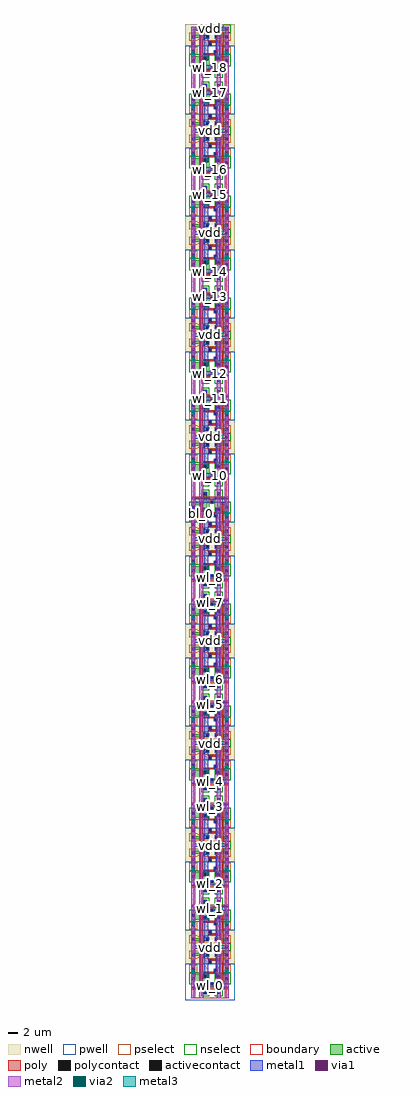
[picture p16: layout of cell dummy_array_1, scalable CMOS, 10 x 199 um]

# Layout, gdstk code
import gdstk
lib = gdstk.Library(unit=1e-6, precision=1e-09)
def R(c, l, rs):  # rectangles x0, y0, x1, y1
    for r in rs: c.add(gdstk.rectangle(r[:2], r[2:], *l))
def A(c, l, x, y, w, h, nx, ny, dx, dy):  # array of equal rectangles
    R(c, l, [(x+i*dx, y+j*dy, x+i*dx+w, y+j*dy+h) for i in range(nx) for j in range(ny)])
pwell = (41, 0)
nwell = (42, 0)
active = (43, 0)
pselect = (44, 0)
nselect = (45, 0)
poly = (46, 0)
polycontact = (47, 0)
activecontact = (48, 0)
metal1 = (49, 0)
via1 = (50, 0)
metal2 = (51, 0)
via2 = (61, 0)
metal3 = (62, 0)
boundary = (63, 0)

dummy_cell_6t = lib.new_cell('dummy_cell_6t')
R(dummy_cell_6t, pwell, [(-1.6,-0.4,8.4,7)])
R(dummy_cell_6t, nwell, [(-1.6,7,8.4,11.4)])
A(dummy_cell_6t, active, 2.4, 8.4, 0.8, 0.2, 3, 1, 2, 0)
R(dummy_cell_6t, active, [(2,0.8,2.8,3.2), (4.8,0.8,5.6,3.2), (-0.4,3.2,2.8,4.8), (4.8,3.2,7.2,4.8), (-0.4,5.6,0.4,6.4), (6.4,5.6,7.2,6.4), (-0.4,8.4,0.4,8.6), (-0.4,8.6,3.2,9.2), (4.4,8.6,7.2,9.2), (6.4,10,7.2,10.8)])
R(dummy_cell_6t, pselect, [(-0.8,5.2,0.8,6.8), (6,5.2,7.6,6.8), (-0.8,8,0.8,8.2), (2,8,7.6,8.2), (-0.8,8.2,7.6,9.6)])
R(dummy_cell_6t, nselect, [(1.6,0.4,3.2,2.8), (4.4,0.4,6,2.8), (-0.8,2.8,3.2,5.2), (4.4,2.8,7.6,5.2), (6,9.6,7.6,11.2)])
R(dummy_cell_6t, poly, [(-0.4,1.8,7.2,2.2), (3.4,2.2,4.2,3.2), (1.4,2.8,1.8,5), (5.8,2.8,6.2,7.6), (1.4,5,4.8,5.2), (1.4,5.2,5,5.4), (1.4,5.4,1.8,8.2), (4.2,5.4,5,6), (3,7,3.8,7.6), (3,7.6,6.2,8), (5.4,8,6.2,9.6), (1.4,8.2,2.2,9.6)])
R(dummy_cell_6t, polycontact, [(3.6,2.6,4,3), (4.4,5.4,4.8,5.8), (3.2,7.2,3.6,7.6)])
A(dummy_cell_6t, activecontact, 2.6, 8.6, 0.4, 0.4, 3, 1, 2, 0)
R(dummy_cell_6t, activecontact, [(2.2,1,2.6,1.4), (5,1,5.4,1.4), (-0.2,3.8,0.2,4.2), (6.6,3.8,7,4.2), (2.2,4.2,2.6,4.6), (5,4.2,5.4,4.6), (-0.2,5.8,0.2,6.2), (6.6,5.8,7,6.2), (-0.2,8.6,0.2,9), (6.6,10.2,7,10.6)])
R(dummy_cell_6t, metal1, [(2,0.8,2.8,1.6), (4.8,0.8,5.6,1.6), (-0.4,2.2,7.2,3), (-0.4,2.2,7.2,3), (3.4,3,4.2,3.2), (-0.4,3.6,0.4,7.8), (6.4,3.6,7.2,7.8), (2,4,3,4.8), (4.6,4,5.6,4.8), (2.2,4.8,3,7), (4.6,4.8,5.4,5.2), (4.2,5.2,5.4,6), (4.6,6,5.4,8.4), (2.2,7,3.8,7.8), (2.2,7.8,3,8.4), (-0.4,8.4,0.4,10), (2.2,8.4,3.2,9.2), (4.4,8.4,5.4,9.2), (6.4,8.4,7.2,10), (-0.4,10,7.2,10.8)])
R(dummy_cell_6t, via1, [(-0.2,7.2,0.2,7.6), (6.6,7.2,7,7.6), (3.2,10.2,3.6,10.6)])
R(dummy_cell_6t, metal2, [(-0.4,0,0.4,10.8), (-0.4,0,0.4,10.8), (1.2,0,2,10.8), (1.2,0,2,10.8), (4.8,0,5.6,10.8), (4.8,0,5.6,10.8), (6.4,0,7.2,10.8), (6.4,0,7.2,10.8), (3,10,3.8,10.8), (3,10,3.8,10.8)])
R(dummy_cell_6t, boundary, [(0,0,6.8,10.4)])
dummy_cell_6t.add(gdstk.Label('gnd', (0,1.2), layer=51, texttype=0))
dummy_cell_6t.add(gdstk.Label('gnd', (6.8,1.2), layer=51, texttype=0))
dummy_cell_6t.add(gdstk.Label('vdd', (3.4,10.4), layer=51, texttype=0))
dummy_cell_6t.add(gdstk.Label('bl', (1.6,9.8), layer=51, texttype=0))
dummy_cell_6t.add(gdstk.Label('br', (5.2,9.8), layer=51, texttype=0))
dummy_cell_6t.add(gdstk.Label('wl', (0.8,2.6), layer=49, texttype=0))
dummy_cell_6t.add(gdstk.Label('bl', (1.6,5.4), layer=51, texttype=0))
dummy_cell_6t.add(gdstk.Label('br', (5.2,5.4), layer=51, texttype=0))
dummy_cell_6t.add(gdstk.Label('wl', (3.4,2.6), layer=49, texttype=0))
dummy_cell_6t.add(gdstk.Label('vdd', (3.4,10.4), layer=51, texttype=0))
dummy_cell_6t.add(gdstk.Label('gnd', (0,5.4), layer=51, texttype=0))
dummy_cell_6t.add(gdstk.Label('gnd', (6.8,5.4), layer=51, texttype=0))

contact_15 = lib.new_cell('contact_15')
R(contact_15, metal2, [(0,0,0.8,0.8)])
R(contact_15, via2, [(0.2,0.2,0.6,0.6)])
R(contact_15, metal3, [(0,0,0.8,0.8)])

dummy_array_1 = lib.new_cell('dummy_array_1')
R(dummy_array_1, metal1, [(0,2.2,6.8,3), (0,17.8,6.8,18.6), (0,23,6.8,23.8), (0,38.6,6.8,39.4), (0,43.8,6.8,44.6), (0,59.4,6.8,60.2), (0,64.6,6.8,65.4), (0,80.2,6.8,81), (0,85.4,6.8,86.2), (0,101,6.8,101.8), (0,106.2,6.8,107), (0,121.8,6.8,122.6), (0,127,6.8,127.8), (0,142.6,6.8,143.4), (0,147.8,6.8,148.6), (0,163.4,6.8,164.2), (0,168.6,6.8,169.4), (0,184.2,6.8,185), (0,189.4,6.8,190.2)])
R(dummy_array_1, metal2, [(1.2,0,2,197.6), (4.8,0,5.6,197.6)])
A(dummy_array_1, metal3, 3, 10, 0.8, 0.8, 1, 3, 0, 20.8)
A(dummy_array_1, metal3, 3, 51.6, 0.8, 0.8, 1, 5, 0, 20.8)
A(dummy_array_1, metal3, 3, 134.8, 0.8, 0.8, 1, 4, 0, 20.8)
R(dummy_array_1, metal3, [(-0.4,5,0.4,5.8), (6.4,5,7.2,5.8), (-0.4,15,0.4,15.8), (6.4,15,7.2,15.8), (-0.4,25.8,0.4,26.6), (6.4,25.8,7.2,26.6), (-0.4,35.8,0.4,36.6), (6.4,35.8,7.2,36.6), (-0.4,46.6,0.4,47.4), (6.4,46.6,7.2,47.4), (-0.4,56.6,0.4,57.4), (6.4,56.6,7.2,57.4), (-0.4,67.4,0.4,68.2), (6.4,67.4,7.2,68.2), (-0.4,77.4,0.4,78.2), (6.4,77.4,7.2,78.2), (-0.4,88.2,0.4,89), (6.4,88.2,7.2,89), (-0.4,98.2,0.4,99), (6.4,98.2,7.2,99), (-0.4,109,0.4,109.8), (6.4,109,7.2,109.8), (-0.4,119,0.4,119.8), (6.4,119,7.2,119.8), (-0.4,129.8,0.4,130.6), (6.4,129.8,7.2,130.6), (-0.4,139.8,0.4,140.6), (6.4,139.8,7.2,140.6), (-0.4,150.6,0.4,151.4), (6.4,150.6,7.2,151.4), (-0.4,160.6,0.4,161.4), (6.4,160.6,7.2,161.4), (-0.4,171.4,0.4,172.2), (6.4,171.4,7.2,172.2), (-0.4,181.4,0.4,182.2), (6.4,181.4,7.2,182.2), (-0.4,192.2,0.4,193), (6.4,192.2,7.2,193)])
R(dummy_array_1, boundary, [(0,0,6.8,197.6)])
dummy_array_1.add(gdstk.Reference(dummy_cell_6t, (0,0)))
dummy_array_1.add(gdstk.Reference(dummy_cell_6t, (0,20.8), x_reflection=True))
dummy_array_1.add(gdstk.Reference(dummy_cell_6t, (0,20.8)))
dummy_array_1.add(gdstk.Reference(dummy_cell_6t, (0,41.6), x_reflection=True))
dummy_array_1.add(gdstk.Reference(dummy_cell_6t, (0,41.6)))
dummy_array_1.add(gdstk.Reference(dummy_cell_6t, (0,62.4), x_reflection=True))
dummy_array_1.add(gdstk.Reference(dummy_cell_6t, (0,62.4)))
dummy_array_1.add(gdstk.Reference(dummy_cell_6t, (0,83.2), x_reflection=True))
dummy_array_1.add(gdstk.Reference(dummy_cell_6t, (0,83.2)))
dummy_array_1.add(gdstk.Reference(dummy_cell_6t, (0,104), x_reflection=True))
dummy_array_1.add(gdstk.Reference(dummy_cell_6t, (0,104)))
dummy_array_1.add(gdstk.Reference(dummy_cell_6t, (0,124.8), x_reflection=True))
dummy_array_1.add(gdstk.Reference(dummy_cell_6t, (0,124.8)))
dummy_array_1.add(gdstk.Reference(dummy_cell_6t, (0,145.6), x_reflection=True))
dummy_array_1.add(gdstk.Reference(dummy_cell_6t, (0,145.6)))
dummy_array_1.add(gdstk.Reference(dummy_cell_6t, (0,166.4), x_reflection=True))
dummy_array_1.add(gdstk.Reference(dummy_cell_6t, (0,166.4)))
dummy_array_1.add(gdstk.Reference(dummy_cell_6t, (0,187.2), x_reflection=True))
dummy_array_1.add(gdstk.Reference(dummy_cell_6t, (0,187.2)))
dummy_array_1.add(gdstk.Reference(contact_15, (3,10)))
dummy_array_1.add(gdstk.Reference(contact_15, (-0.4,5)))
dummy_array_1.add(gdstk.Reference(contact_15, (6.4,5)))
dummy_array_1.add(gdstk.Reference(contact_15, (3,10)))
dummy_array_1.add(gdstk.Reference(contact_15, (-0.4,15)))
dummy_array_1.add(gdstk.Reference(contact_15, (6.4,15)))
dummy_array_1.add(gdstk.Reference(contact_15, (3,30.8)))
dummy_array_1.add(gdstk.Reference(contact_15, (-0.4,25.8)))
dummy_array_1.add(gdstk.Reference(contact_15, (6.4,25.8)))
dummy_array_1.add(gdstk.Reference(contact_15, (3,30.8)))
dummy_array_1.add(gdstk.Reference(contact_15, (-0.4,35.8)))
dummy_array_1.add(gdstk.Reference(contact_15, (6.4,35.8)))
dummy_array_1.add(gdstk.Reference(contact_15, (3,51.6)))
dummy_array_1.add(gdstk.Reference(contact_15, (-0.4,46.6)))
dummy_array_1.add(gdstk.Reference(contact_15, (6.4,46.6)))
dummy_array_1.add(gdstk.Reference(contact_15, (3,51.6)))
dummy_array_1.add(gdstk.Reference(contact_15, (-0.4,56.6)))
dummy_array_1.add(gdstk.Reference(contact_15, (6.4,56.6)))
dummy_array_1.add(gdstk.Reference(contact_15, (3,72.4)))
dummy_array_1.add(gdstk.Reference(contact_15, (-0.4,67.4)))
dummy_array_1.add(gdstk.Reference(contact_15, (6.4,67.4)))
dummy_array_1.add(gdstk.Reference(contact_15, (3,72.4)))
dummy_array_1.add(gdstk.Reference(contact_15, (-0.4,77.4)))
dummy_array_1.add(gdstk.Reference(contact_15, (6.4,77.4)))
dummy_array_1.add(gdstk.Reference(contact_15, (3,93.2)))
dummy_array_1.add(gdstk.Reference(contact_15, (-0.4,88.2)))
dummy_array_1.add(gdstk.Reference(contact_15, (6.4,88.2)))
dummy_array_1.add(gdstk.Reference(contact_15, (3,93.2)))
dummy_array_1.add(gdstk.Reference(contact_15, (-0.4,98.2)))
dummy_array_1.add(gdstk.Reference(contact_15, (6.4,98.2)))
dummy_array_1.add(gdstk.Reference(contact_15, (3,114)))
dummy_array_1.add(gdstk.Reference(contact_15, (-0.4,109)))
dummy_array_1.add(gdstk.Reference(contact_15, (6.4,109)))
dummy_array_1.add(gdstk.Reference(contact_15, (3,114)))
dummy_array_1.add(gdstk.Reference(contact_15, (-0.4,119)))
dummy_array_1.add(gdstk.Reference(contact_15, (6.4,119)))
dummy_array_1.add(gdstk.Reference(contact_15, (3,134.8)))
dummy_array_1.add(gdstk.Reference(contact_15, (-0.4,129.8)))
dummy_array_1.add(gdstk.Reference(contact_15, (6.4,129.8)))
dummy_array_1.add(gdstk.Reference(contact_15, (3,134.8)))
dummy_array_1.add(gdstk.Reference(contact_15, (-0.4,139.8)))
dummy_array_1.add(gdstk.Reference(contact_15, (6.4,139.8)))
dummy_array_1.add(gdstk.Reference(contact_15, (3,155.6)))
dummy_array_1.add(gdstk.Reference(contact_15, (-0.4,150.6)))
dummy_array_1.add(gdstk.Reference(contact_15, (6.4,150.6)))
dummy_array_1.add(gdstk.Reference(contact_15, (3,155.6)))
dummy_array_1.add(gdstk.Reference(contact_15, (-0.4,160.6)))
dummy_array_1.add(gdstk.Reference(contact_15, (6.4,160.6)))
dummy_array_1.add(gdstk.Reference(contact_15, (3,176.4)))
dummy_array_1.add(gdstk.Reference(contact_15, (-0.4,171.4)))
dummy_array_1.add(gdstk.Reference(contact_15, (6.4,171.4)))
dummy_array_1.add(gdstk.Reference(contact_15, (3,176.4)))
dummy_array_1.add(gdstk.Reference(contact_15, (-0.4,181.4)))
dummy_array_1.add(gdstk.Reference(contact_15, (6.4,181.4)))
dummy_array_1.add(gdstk.Reference(contact_15, (3,197.2)))
dummy_array_1.add(gdstk.Reference(contact_15, (-0.4,192.2)))
dummy_array_1.add(gdstk.Reference(contact_15, (6.4,192.2)))
dummy_array_1.add(gdstk.Label('bl_0', (1.6,98.8), layer=51, texttype=0))
dummy_array_1.add(gdstk.Label('br_0', (5.2,98.8), layer=51, texttype=0))
dummy_array_1.add(gdstk.Label('wl_0', (3.4,2.6), layer=49, texttype=0))
dummy_array_1.add(gdstk.Label('wl_1', (3.4,18.2), layer=49, texttype=0))
dummy_array_1.add(gdstk.Label('wl_2', (3.4,23.4), layer=49, texttype=0))
dummy_array_1.add(gdstk.Label('wl_3', (3.4,39), layer=49, texttype=0))
dummy_array_1.add(gdstk.Label('wl_4', (3.4,44.2), layer=49, texttype=0))
dummy_array_1.add(gdstk.Label('wl_5', (3.4,59.8), layer=49, texttype=0))
dummy_array_1.add(gdstk.Label('wl_6', (3.4,65), layer=49, texttype=0))
dummy_array_1.add(gdstk.Label('wl_7', (3.4,80.6), layer=49, texttype=0))
dummy_array_1.add(gdstk.Label('wl_8', (3.4,85.8), layer=49, texttype=0))
dummy_array_1.add(gdstk.Label('wl_9', (3.4,101.4), layer=49, texttype=0))
dummy_array_1.add(gdstk.Label('wl_10', (3.4,106.6), layer=49, texttype=0))
dummy_array_1.add(gdstk.Label('wl_11', (3.4,122.2), layer=49, texttype=0))
dummy_array_1.add(gdstk.Label('wl_12', (3.4,127.4), layer=49, texttype=0))
dummy_array_1.add(gdstk.Label('wl_13', (3.4,143), layer=49, texttype=0))
dummy_array_1.add(gdstk.Label('wl_14', (3.4,148.2), layer=49, texttype=0))
dummy_array_1.add(gdstk.Label('wl_15', (3.4,163.8), layer=49, texttype=0))
dummy_array_1.add(gdstk.Label('wl_16', (3.4,169), layer=49, texttype=0))
dummy_array_1.add(gdstk.Label('wl_17', (3.4,184.6), layer=49, texttype=0))
dummy_array_1.add(gdstk.Label('wl_18', (3.4,189.8), layer=49, texttype=0))
dummy_array_1.add(gdstk.Label('vdd', (3.4,176.8), layer=62, texttype=0))
dummy_array_1.add(gdstk.Label('vdd', (3.4,52), layer=62, texttype=0))
dummy_array_1.add(gdstk.Label('vdd', (3.4,31.2), layer=62, texttype=0))
dummy_array_1.add(gdstk.Label('vdd', (3.4,52), layer=62, texttype=0))
dummy_array_1.add(gdstk.Label('vdd', (3.4,197.6), layer=62, texttype=0))
dummy_array_1.add(gdstk.Label('vdd', (3.4,10.4), layer=62, texttype=0))
dummy_array_1.add(gdstk.Label('vdd', (3.4,135.2), layer=62, texttype=0))
dummy_array_1.add(gdstk.Label('vdd', (3.4,114.4), layer=62, texttype=0))
dummy_array_1.add(gdstk.Label('vdd', (3.4,72.8), layer=62, texttype=0))
dummy_array_1.add(gdstk.Label('vdd', (3.4,135.2), layer=62, texttype=0))
dummy_array_1.add(gdstk.Label('vdd', (3.4,93.6), layer=62, texttype=0))
dummy_array_1.add(gdstk.Label('vdd', (3.4,156), layer=62, texttype=0))
dummy_array_1.add(gdstk.Label('gnd', (6.8,47), layer=62, texttype=0))
dummy_array_1.add(gdstk.Label('gnd', (6.8,161), layer=62, texttype=0))
dummy_array_1.add(gdstk.Label('gnd', (0,15.4), layer=62, texttype=0))
dummy_array_1.add(gdstk.Label('gnd', (6.8,192.6), layer=62, texttype=0))
dummy_array_1.add(gdstk.Label('gnd', (6.8,151), layer=62, texttype=0))
dummy_array_1.add(gdstk.Label('gnd', (0,98.6), layer=62, texttype=0))
dummy_array_1.add(gdstk.Label('gnd', (0,67.8), layer=62, texttype=0))
dummy_array_1.add(gdstk.Label('gnd', (6.8,109.4), layer=62, texttype=0))
dummy_array_1.add(gdstk.Label('gnd', (6.8,140.2), layer=62, texttype=0))
dummy_array_1.add(gdstk.Label('gnd', (6.8,171.8), layer=62, texttype=0))
dummy_array_1.add(gdstk.Label('gnd', (0,119.4), layer=62, texttype=0))
dummy_array_1.add(gdstk.Label('gnd', (6.8,77.8), layer=62, texttype=0))
dummy_array_1.add(gdstk.Label('gnd', (6.8,15.4), layer=62, texttype=0))
dummy_array_1.add(gdstk.Label('gnd', (0,109.4), layer=62, texttype=0))
dummy_array_1.add(gdstk.Label('gnd', (6.8,36.2), layer=62, texttype=0))
dummy_array_1.add(gdstk.Label('gnd', (0,5.4), layer=62, texttype=0))
dummy_array_1.add(gdstk.Label('gnd', (0,36.2), layer=62, texttype=0))
dummy_array_1.add(gdstk.Label('gnd', (0,57), layer=62, texttype=0))
dummy_array_1.add(gdstk.Label('gnd', (6.8,57), layer=62, texttype=0))
dummy_array_1.add(gdstk.Label('gnd', (0,130.2), layer=62, texttype=0))
dummy_array_1.add(gdstk.Label('gnd', (6.8,26.2), layer=62, texttype=0))
dummy_array_1.add(gdstk.Label('gnd', (6.8,98.6), layer=62, texttype=0))
dummy_array_1.add(gdstk.Label('gnd', (0,151), layer=62, texttype=0))
dummy_array_1.add(gdstk.Label('gnd', (0,161), layer=62, texttype=0))
dummy_array_1.add(gdstk.Label('gnd', (0,26.2), layer=62, texttype=0))
dummy_array_1.add(gdstk.Label('gnd', (6.8,181.8), layer=62, texttype=0))
dummy_array_1.add(gdstk.Label('gnd', (0,192.6), layer=62, texttype=0))
dummy_array_1.add(gdstk.Label('gnd', (6.8,130.2), layer=62, texttype=0))
dummy_array_1.add(gdstk.Label('gnd', (0,47), layer=62, texttype=0))
dummy_array_1.add(gdstk.Label('gnd', (0,181.8), layer=62, texttype=0))
dummy_array_1.add(gdstk.Label('gnd', (6.8,88.6), layer=62, texttype=0))
dummy_array_1.add(gdstk.Label('gnd', (0,140.2), layer=62, texttype=0))
dummy_array_1.add(gdstk.Label('gnd', (0,77.8), layer=62, texttype=0))
dummy_array_1.add(gdstk.Label('gnd', (0,88.6), layer=62, texttype=0))
dummy_array_1.add(gdstk.Label('gnd', (0,171.8), layer=62, texttype=0))
dummy_array_1.add(gdstk.Label('gnd', (6.8,5.4), layer=62, texttype=0))
dummy_array_1.add(gdstk.Label('gnd', (6.8,67.8), layer=62, texttype=0))
dummy_array_1.add(gdstk.Label('gnd', (6.8,119.4), layer=62, texttype=0))

lib.write_gds('dummy_array_1.gds')
